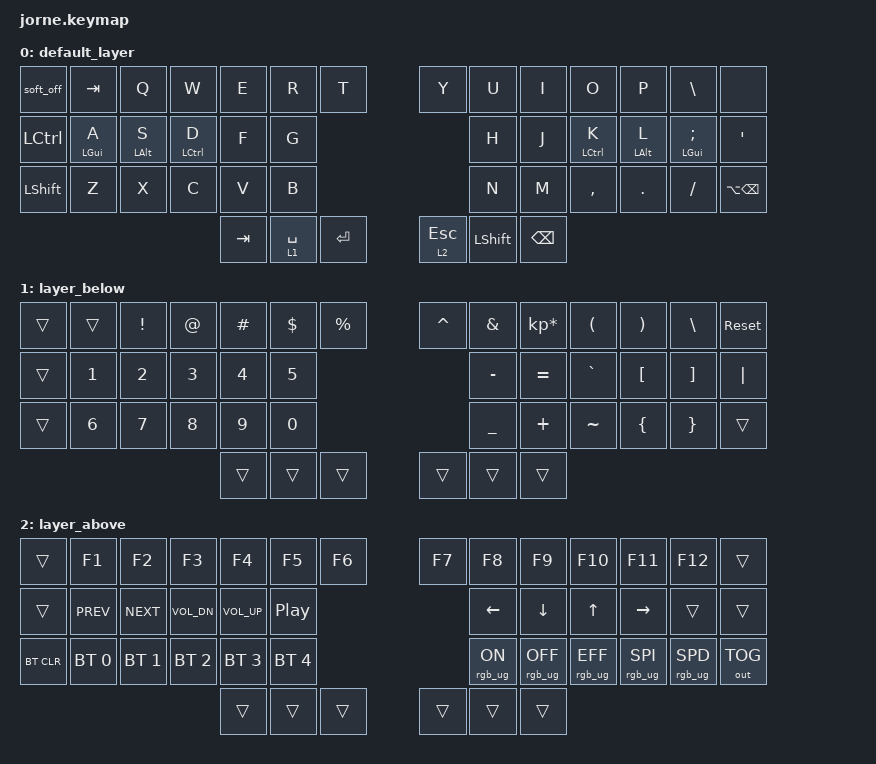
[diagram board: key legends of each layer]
/*
 * Copyright (c) 2020 The ZMK Contributors
 *
 * SPDX-License-Identifier: MIT
 */

#include <behaviors.dtsi>
#include <dt-bindings/zmk/keys.h>
#include <dt-bindings/zmk/bt.h>
#include "./dependencies/keys.h"                // keyposition helpers
#include <dt-bindings/zmk/rgb.h>
#include <dt-bindings/zmk/outputs.h>


#define KEYS_L LT0 LT1 LT2 LT3 LT4 LM0 LM1 LM2 LM3 LM4 LB0 LB1 LB2 LB3 LB4  // left-hand keys
#define KEYS_R RT0 RT1 RT2 RT3 RT4 RM0 RM1 RM2 RM3 RM4 RB0 RB1 RB2 RB3 RB4  // right-hand keys
#define THUMBS LH2 LH1 LH0 RH0 RH1 RH2                                      // thumb keys


&led_strip {
    chain-length = <22>;

    // chain-length = <28>;
    // 22 backlight + 6 glowlight
};

/ {
        behaviors {
          tp: tap_hold {
            compatible = "zmk,behavior-hold-tap";
            #binding-cells = <2>;
            tapping-term-ms = <150>;
            quick-tap-ms = <0>;
            flavor = "tap-preferred";
            global-quick-tap;
            bindings = <&mo>, <&kp>;
          };
          kph: key_tap_hold {
            compatible = "zmk,behavior-hold-tap";
            #binding-cells = <2>;
            tapping-term-ms = <150>;
            quick-tap-ms = <0>;
            flavor = "tap-preferred";
            global-quick-tap;
            bindings = <&kp>, <&kp>;
          };
          lt: layer_tap {
                compatible = "zmk,behavior-hold-tap";
                label = "LAYER_TAP";
                #binding-cells = <2>;
                flavor = "tap-preferred";
                tapping-term-ms = <200>;
                quick-tap-ms = <125>;
                global-quick-tap;
                bindings = <&mo>, <&kp>;
          };
          slt: spacebar_layer_tap {
                compatible = "zmk,behavior-hold-tap";
                #binding-cells = <2>;
                flavor = "balanced";
                tapping-term-ms = <175>;
                quick-tap-ms = <100>;                // repeat on tap-into-hold
                require-prior-idle-ms = <75>;
                bindings = <&mo>, <&kp>;
                hold-trigger-key-positions = <KEYS_R KEYS_L>;
                hold-trigger-on-release;             // delay positional check until key-release
          };
          bhm: balanced_homerow_mods {
            compatible = "zmk,behavior-hold-tap";
            #binding-cells = <2>;
            tapping-term-ms = <200>;    // <---[[moderate duration]]
            quick-tap-ms = <0>;
            flavor = "balanced";
            bindings = <&kp>, <&kp>;
          };
          hml: home_row_left {
                compatible = "zmk,behavior-hold-tap";
                #binding-cells = <2>;
                flavor = "balanced";
                tapping-term-ms = <280>;
                quick-tap-ms = <175>;                // repeat on tap-into-hold
                require-prior-idle-ms = <150>;
                bindings = <&kp>, <&kp>;
                hold-trigger-key-positions = <KEYS_R THUMBS>;
                hold-trigger-on-release;             // delay positional check until key-release
          };
          hmr: home_row_right {
                compatible = "zmk,behavior-hold-tap";
                #binding-cells = <2>;
                flavor = "balanced";
                tapping-term-ms = <280>;
                quick-tap-ms = <175>;                // repeat on tap-into-hold
                require-prior-idle-ms = <150>;
                bindings = <&kp>, <&kp>;
                hold-trigger-key-positions = <KEYS_L THUMBS>;
                hold-trigger-on-release;             // delay positional check until key-release
          };
          bs: custom_backspace {
              compatible = "zmk,behavior-tap-dance";
              #binding-cells = <0>;
              tapping-term-ms = <200>;
              bindings = <&kp BSPC &kp LALT>, <&kp LGUI &kp BSPC>;
          };
        };

        keymap {
                compatible = "zmk,keymap";

                default_layer {
                        bindings = <
        &soft_off &kp TAB   &kp Q &kp W &kp E &kp R &kp T                               &kp Y &kp U  &kp I     &kp O   &kp P    &kp BSLH &none
                &kp LCTRL   &hml LGUI A &hml LALT S &hml LCTRL D  &kp F &kp G             &kp H &kp J &hmr LCTRL K  &hmr LALT L &hmr LGUI SEMI &kp SQT
                &kp LSHFT   &kp Z &kp X &kp C &kp V &kp B                                 &kp N &kp M  &kp COMMA &kp DOT &kp FSLH &kp LA(BSPC)
                        &kp TAB &slt 1 SPACE &kp RET                                    &lt 2 ESC &kp LSHFT &kp BSPC
                        >;
                };

                layer_below {
// -----------------------------------------------------------------------------------------
// |      |  !  |  @  |  #  |  $  |    %     |   |  ^  |  &  |  *  |  (  |  )  |   \   |
// |      |  1  |  2  |  3  |  4  |    5     |   |  -  |  =  |  `  |  [  |  ]  |  "|"  |
// | SHFT |  6  |  7  |  8  |  9  |    0     |   |  _  |  +  |  ~  |  {  |  }  | LALT |
//                     | GUI |     | ALT/ENT |   | HYPER/SPACE | BKSP |    |
                        bindings = <
                 &trans &trans  &kp EXCL &kp AT &kp HASH &kp DLLR &kp PRCNT             &kp CARET &kp AMPS  &kp KP_MULTIPLY &kp LPAR &kp RPAR &kp BSLH &sys_reset
                        &trans    &kp N1   &kp N2 &kp N3   &kp N4   &kp N5              &kp MINUS  &kp EQUAL &kp GRAVE       &kp LBKT &kp RBKT &kp PIPE
                        &trans    &kp N6   &kp N7 &kp N8   &kp N9   &kp N0              &kp UNDER  &kp PLUS  &kp TILDE       &kp LBRC &kp RBRC &trans
                                                        &trans &trans &trans            &trans &trans &trans
                        >;
                };

                layer_above {
// -----------------------------------------------------------------------------------------
// |       |  F1  |  F2  |  F3  |  F4  |  F5 |            |  F6  |  F7  |  F8  |  F9  |  F10  |   |
// |       | Prev | Next | Vol - | Vol + | Play/Pause |   |      | LFT | DWN |  UP | RGT |     |     |
// | BTCLR | BT1 | BT2 | BT3 | BT4 | BT5 |   |            |     |     |     |     |     |     |
//                    |     |     |    |                  |     |     |     |
                        bindings = <
        &trans  &kp F1   &kp F2  &kp F3  &kp F4  &kp F5  &kp F6                                         &kp F7  &kp F8  &kp F9  &kp F10  &kp F11 &kp F12 &trans
                &trans &kp C_PREV  &kp C_NEXT   &kp C_VOL_DN &kp C_VOL_UP &kp C_PP                      &kp LEFT &kp DOWN &kp UP &kp RIGHT &trans &trans
                &bt BT_CLR  &bt BT_SEL 0  &bt BT_SEL 1 &bt BT_SEL 2 &bt BT_SEL 3  &bt BT_SEL 4          &rgb_ug RGB_ON  &rgb_ug RGB_OFF  &rgb_ug RGB_EFF  &rgb_ug RGB_SPI  &rgb_ug RGB_SPD &out OUT_TOG
                          	                                        &trans   &trans   &trans        &trans   &trans   &trans
                        >;
                };
        };
};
